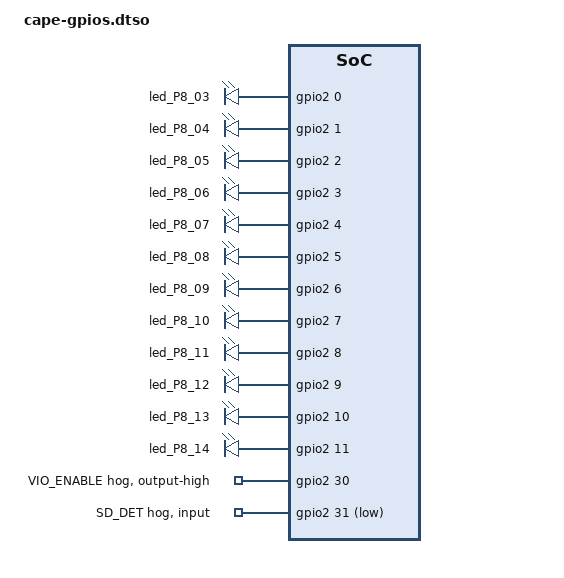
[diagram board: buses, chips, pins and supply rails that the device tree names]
// SPDX-License-Identifier: (GPL-2.0 OR MIT)
/* Copyright (c) 2020-2021 Microchip Technology Inc */

/dts-v1/;
/plugin/;

&{/chosen} {
	overlays {
		MINIMAL-CAPE-GATEWARE = "GATEWARE_GIT_VERSION";
	};
};

&{/} {
	leds {
		compatible = "gpio-leds";

		led_P8_03 {
			status = "okay";
			gpios = <&gpio2 0 0>;
			default-state = "on";
		};

		led_P8_04 {
			status = "okay";
			gpios = <&gpio2 1 0>;
			default-state = "on";
		};

		led_P8_05 {
			status = "okay";
			gpios = <&gpio2 2 0>;
			default-state = "on";
		};

		led_P8_06 {
			status = "okay";
			gpios = <&gpio2 3 0>;
			linux,default-trigger = "heartbeat";
			default-state = "on";
		};

		led_P8_07 {
			status = "okay";
			gpios = <&gpio2 4 0>;
			default-state = "off";
		};

		led_P8_08 {
			status = "okay";
			gpios = <&gpio2 5 0>;
			default-state = "off";
		};

		led_P8_09 {
			status = "okay";
			gpios = <&gpio2 6 0>;
			default-state = "off";
		};

		led_P8_10 {
			status = "okay";
			gpios = <&gpio2 7 0>;
			default-state = "off";
		};

		led_P8_11 {
			status = "okay";
			gpios = <&gpio2 8 0>;
			default-state = "off";
		};

		led_P8_12 {
			status = "okay";
			gpios = <&gpio2 9 0>;
			default-state = "off";
		};

		led_P8_13 {
			status = "okay";
			gpios = <&gpio2 10 0>;
			default-state = "off";
		};

		led_P8_14 {
			status = "okay";
			gpios = <&gpio2 11 0>;
			default-state = "off";
		};
	};
};

&gpio2 {
	interrupts = <53>, <53>, <53>, <53>,
		     <53>, <53>, <53>, <53>,
		     <53>, <53>, <53>, <53>,
		     <53>, <53>, <53>, <53>,
		     <53>, <53>, <53>, <53>,
		     <53>, <53>, <53>, <53>,
		     <53>, <53>, <53>, <53>,
		     <53>, <53>, <53>, <53>;
	gpio-line-names = "P8_3_USER_LED_0", "P8_4_USER_LED_1", "P8_5_USER_LED_2",
					"P8_6_USER_LED_3", "P8_7_USER_LED_4", "P8_8_USER_LED_5",
					"P8_9_USER_LED_6", "P8_10_USER_LED_7", "P8_11_USER_LED_8",
					"P8_12_USER_LED_9", "P8_13_USER_LED_10", "P8_14_USER_LED_11",
					"", "", "", "", "",
					"", "", "",	"", "",
					"", "", "", "", "",
					"",
					"M2_W_DISABLE1", "M2_W_DISABLE2",
					"VIO_ENABLE", "SD_DET";
	status = "okay";

	vio_enable {
		gpio-hog;
		gpios = <30 30>;
		output-high;
		line-name = "VIO_ENABLE";
	};

	sd_det {
		gpio-hog;
		gpios = <31 31>;
		input;
		line-name = "SD_DET";
	};
};

&mmuart4 {
	status = "okay";
	symlink = "bone/uart/4";
};
